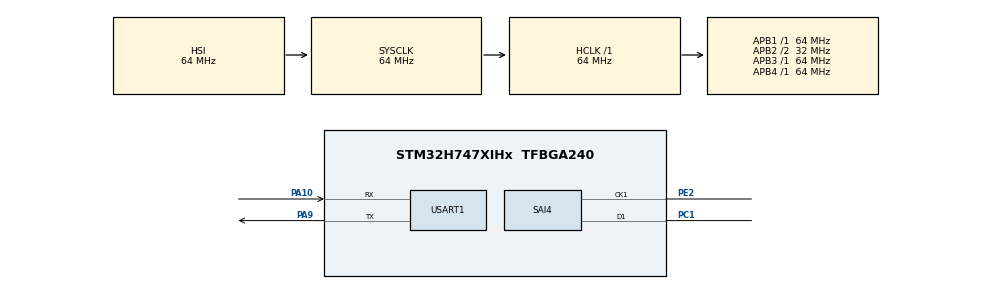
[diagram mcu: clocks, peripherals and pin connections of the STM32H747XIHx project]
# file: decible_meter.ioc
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Bdma.Request0=SAI4_A
Bdma.RequestsNb=1
Bdma.SAI4_A.0.Direction=DMA_PERIPH_TO_MEMORY
Bdma.SAI4_A.0.EventEnable=ENABLE
Bdma.SAI4_A.0.Instance=BDMA_Channel0
Bdma.SAI4_A.0.MemDataAlignment=DMA_MDATAALIGN_HALFWORD
Bdma.SAI4_A.0.MemInc=DMA_MINC_ENABLE
Bdma.SAI4_A.0.Mode=DMA_CIRCULAR
Bdma.SAI4_A.0.PeriphDataAlignment=DMA_PDATAALIGN_HALFWORD
Bdma.SAI4_A.0.PeriphInc=DMA_PINC_DISABLE
Bdma.SAI4_A.0.Polarity=HAL_DMAMUX_REQ_GEN_RISING
Bdma.SAI4_A.0.Priority=DMA_PRIORITY_HIGH
Bdma.SAI4_A.0.RequestNumber=1
Bdma.SAI4_A.0.SignalID=NONE
Bdma.SAI4_A.0.SyncEnable=DISABLE
Bdma.SAI4_A.0.SyncPolarity=HAL_DMAMUX_SYNC_NO_EVENT
Bdma.SAI4_A.0.SyncRequestNumber=1
Bdma.SAI4_A.0.SyncSignalID=NONE
CORTEX_M7.default_mode_Activation=1
CortexM4.IPs=BDMA,CORTEX_M4\:I,DMA,FATFS_M4\:I,FREERTOS_M4\:I,GPIO,IWDG2\:I,MDMA,NVIC2\:I,OPENAMP_M4\:I,PDM2PCM_M4\:I,PWR,RCC,RESMGR_UTILITY,SYS_M4\:I,USB_DEVICE_M4\:I,USB_HOST_M4\:I,VREFBUF,WWDG2\:I
CortexM7.IPs=BDMA\:I,CORTEX_M7\:I,DMA\:I,FATFS_M7\:I,FREERTOS_M7\:I,GPIO\:I,IWDG1\:I,MDMA\:I,NVIC1\:I,OPENAMP_M7\:I,PDM2PCM_M7\:I,PWR\:I,RCC\:I,RESMGR_UTILITY\:I,SYS\:I,USB_DEVICE_M7\:I,USB_HOST_M7\:I,VREFBUF\:I,WWDG1\:I,USART1\:I,SAI4\:I
Mcu.Family=STM32H7
Mcu.Name=STM32H747XIHx
Mcu.Package=TFBGA240
NVIC1.BDMA_Channel0_IRQn=true\:0\:0\:false\:false\:true\:false\:true\:true
NVIC1.PriorityGroup=NVIC_PRIORITYGROUP_4
NVIC1.SAI4_IRQn=true\:0\:0\:false\:false\:true\:true\:true\:true
NVIC2.PriorityGroup=NVIC_PRIORITYGROUP_4
PA10.Mode=Asynchronous
PA10.PinAttribute=CortexM7
PA10.Signal=USART1_RX
PA9.Mode=Asynchronous
PA9.PinAttribute=CortexM7
PA9.Signal=USART1_TX
PC1.Mode=PDM_Master_Mode_CK1
PC1.PinAttribute=CortexM7
PC1.Signal=SAI4_D1
PE2.Mode=PDM_Master_Mode_CK1
PE2.PinAttribute=CortexM7
PE2.Signal=SAI4_CK1
ProjectManager.HeapSize=M4-0x200,M7-0x200
ProjectManager.StackSize=M4-0x400,M7-0x400
ProjectManager.TargetToolchain=STM32CubeIDE
RCC.ADCFreq_Value=24576000
RCC.APB1Freq_Value=64000000
RCC.APB2Freq_Value=32000000
RCC.APB3Freq_Value=64000000
RCC.APB4Freq_Value=64000000
RCC.CortexFreq_Value=64000000
RCC.D2PPRE2=RCC_APB2_DIV2
RCC.DIVM1=4
RCC.DIVM2=5
RCC.DIVM3=4
RCC.DIVN1=10
RCC.DIVN2=48
RCC.DIVN3=9
RCC.DIVP2=25
RCC.DIVP3=10
RCC.DIVQ3=3
RCC.HCLKFreq_Value=64000000
RCC.PLL2FRACN=0
RCC.PLL3FRACN=0
RCC.PLLFRACN=0
RCC.SAI4ACLockSelection=RCC_SAI4ACLKSOURCE_CLKP
RCC.SYSCLKFreq_VALUE=64000000
RCC.USART16CLockSelection=RCC_USART16CLKSOURCE_CSI
RCC.USBFreq_Value=80000000
SAI4.Activation=ENABLE
SAI4.AudioFrequency-PDM_Master_Mode_CK1=SAI_AUDIO_FREQUENCY_MCKDIV
SAI4.DataSize-PDM_Master_Mode_CK1=SAI_DATASIZE_16
SAI4.ErrorAudioFreq-PDM_Master_Mode_CK1=-50.0 %
SAI4.FIFOThreshold-PDM_Master_Mode_CK1=SAI_FIFOTHRESHOLD_HF
SAI4.FrameLength-PDM_Master_Mode_CK1=16
SAI4.Instance-PDM_Master_Mode_CK1=SAI$Index_Block_A
SAI4.MClockEnable-PDM_Master_Mode_CK1=SAI_MASTERCLOCK_DISABLE
SAI4.RealAudioFreq-PDM_Master_Mode_CK1=0 Hz
SAI4.SlotActive-PDM_Master_Mode_CK1=0x0000FFFF
SAI4.VirtualMode-PDM_Master_Mode_CK1=VM_MASTER
SAI4.VirtualProtocol-PDM_Master_Mode_CK1=VM_PDM_PROTOCOL
SAI4.VirtualSlotActive-PDM_Master_Mode_CK1=SAI_SLOTACTIVE_ALL
SYS.userName=SYS_M7
USART1.VirtualMode-Asynchronous=VM_ASYNC
VP_SYS_M4_VS_Systick.Mode=SysTick
board=custom

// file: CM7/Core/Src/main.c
/* USER CODE BEGIN Header */
/**
  ******************************************************************************
  * @file           : main.c
  * @brief          : Main program body
  ******************************************************************************
  * @attention
  *
  * Copyright (c) 2024 STMicroelectronics.
  * All rights reserved.
  *
  * This software is licensed under terms that can be found in the LICENSE file
  * in the root directory of this software component.
  * If no LICENSE file comes with this software, it is provided AS-IS.
  *
  ******************************************************************************
  */
/* USER CODE END Header */
#include "main.h"

/* USER CODE BEGIN Includes */
#include "math.h"
#include <stdio.h>
#include <string.h> // Added for memset
#define BUFFER_SIZE 4096  // Size of the audio buffer
#define REFERENCE_VOLTAGE 0.00002f
/* USER CODE END Includes */

/* USER CODE BEGIN PD */

#ifndef HSEM_ID_0
#define HSEM_ID_0 (0U) /* HW semaphore 0*/
#endif

/* USER CODE END PD */

SAI_HandleTypeDef hsai_BlockA4;
DMA_HandleTypeDef hdma_sai4_a;

UART_HandleTypeDef huart1;

/* USER CODE BEGIN PV */
int16_t audio_buffer[BUFFER_SIZE];
/* USER CODE END PV */

void SystemClock_Config(void);
void PeriphCommonClock_Config(void);
static void MPU_Config(void);
static void MX_GPIO_Init(void);
static void MX_BDMA_Init(void);
static void MX_USART1_UART_Init(void);
static void MX_SAI4_Init(void);
/* USER CODE BEGIN PFP */
float calculate_decibel(int16_t *buffer, size_t size);
/* USER CODE END PFP */

/* USER CODE BEGIN 0 */

int16_t audio_buffer[BUFFER_SIZE];

float calculate_decibel(int16_t *buffer, size_t size) {
    float sum = 0.0f;

    for (size_t i = 0; i < size; i++) {
        float voltage = (float)buffer[i] / 32768.0f; // Normalize 16-bit value
        sum += voltage * voltage;
    }

    float rms = sqrtf(sum / size);
    float spl = 20.0f * log10f(rms / REFERENCE_VOLTAGE);

    return spl;
}

int _write(int file, char *ptr, int len) {
    HAL_UART_Transmit(&huart1, (uint8_t *)ptr, len, HAL_MAX_DELAY);
    return len;
}

#define BYTES_PER_LINE 32
/* USER CODE END 0 */

int main(void)
{

  /* USER CODE BEGIN 1 */
    memset(audio_buffer, 0xAA, sizeof(audio_buffer)); // Initialize buffer
  /* USER CODE END 1 */
/* USER CODE BEGIN Boot_Mode_Sequence_0 */
  int32_t timeout;
/* USER CODE END Boot_Mode_Sequence_0 */

  /* MPU Configuration--------------------------------------------------------*/
  MPU_Config();

/* USER CODE BEGIN Boot_Mode_Sequence_1 */
  /* Wait until CPU2 boots and enters in stop mode or timeout*/
  timeout = 0xFFFF;
  while((__HAL_RCC_GET_FLAG(RCC_FLAG_D2CKRDY) != RESET) && (timeout-- > 0));
  if ( timeout < 0 )
  {
  Error_Handler();
  }
/* USER CODE END Boot_Mode_Sequence_1 */
  /* MCU Configuration--------------------------------------------------------*/

  /* Reset of all peripherals, Initializes the Flash interface and the Systick. */
  HAL_Init();

  /* Configure the system clock */
  SystemClock_Config();

  /* Configure the peripherals common clocks */
  PeriphCommonClock_Config();
/* USER CODE BEGIN Boot_Mode_Sequence_2 */
/* When system initialization is finished, Cortex-M7 will release Cortex-M4 by means of
HSEM notification */
/*HW semaphore Clock enable*/
__HAL_RCC_HSEM_CLK_ENABLE();
/*Take HSEM */
HAL_HSEM_FastTake(HSEM_ID_0);
/*Release HSEM in order to notify the CPU2(CM4)*/
HAL_HSEM_Release(HSEM_ID_0,0);
/* wait until CPU2 wakes up from stop mode */
timeout = 0xFFFF;
while((__HAL_RCC_GET_FLAG(RCC_FLAG_D2CKRDY) == RESET) && (timeout-- > 0));
if ( timeout < 0 )
{
Error_Handler();
}
/* USER CODE END Boot_Mode_Sequence_2 */

  /* Initialize all configured peripherals */
  MX_GPIO_Init();
  MX_BDMA_Init();
  MX_USART1_UART_Init();
  MX_SAI4_Init();
  /* USER CODE BEGIN 2 */
//  printf("Starting SAI DMA...\r\n");
//  if (HAL_SAI_Receive_DMA(&hsai_BlockA4, (uint8_t *)audio_buffer, BUFFER_SIZE) != HAL_OK) {
//      printf("SAI DMA initialization failed! Error: %ld\r\n", hsai_BlockA4.ErrorCode);
//  } else {
//      printf("SAI DMA started successfully.\r\n");
//  }
  /* USER CODE END 2 */

  /* Infinite loop */
  /* USER CODE BEGIN WHILE */
  while (1)
  {
	  if (HAL_SAI_Receive(&hsai_BlockA4, (void*) audio_buffer, BUFFER_SIZE, 2000))
	  {
		  printf("SAI Read Fail\r\n");
		  continue;
	  }
	  printf("----------------------------");
	  printf("SAI State: %d", HAL_SAI_GetState(&hsai_BlockA4));
	  printf("Audio Buffer Data:\r\n");
	  for (int i = 0; i < 10; i++) {
		  printf("[%d]: %d\r\n", i, audio_buffer[i]);
	  }
	      float decibel_level = calculate_decibel(audio_buffer, BUFFER_SIZE);
	      printf("SPL: %.2f dB\r\n", decibel_level);
	      HAL_Delay(1000);
    /* USER CODE END WHILE */

  }
}

void SystemClock_Config(void)
{
  RCC_OscInitTypeDef RCC_OscInitStruct = {0};
  RCC_ClkInitTypeDef RCC_ClkInitStruct = {0};

  /** Supply configuration update enable
  */
  HAL_PWREx_ConfigSupply(PWR_DIRECT_SMPS_SUPPLY);

  /** Configure the main internal regulator output voltage
  */
  __HAL_PWR_VOLTAGESCALING_CONFIG(PWR_REGULATOR_VOLTAGE_SCALE3);

  while(!__HAL_PWR_GET_FLAG(PWR_FLAG_VOSRDY)) {}

  /** Initializes the RCC Oscillators according to the specified parameters
  * in the RCC_OscInitTypeDef structure.
  */
  RCC_OscInitStruct.OscillatorType = RCC_OSCILLATORTYPE_CSI|RCC_OSCILLATORTYPE_HSI;
  RCC_OscInitStruct.HSIState = RCC_HSI_DIV1;
  RCC_OscInitStruct.HSICalibrationValue = RCC_HSICALIBRATION_DEFAULT;
  RCC_OscInitStruct.CSIState = RCC_CSI_ON;
  RCC_OscInitStruct.CSICalibrationValue = RCC_CSICALIBRATION_DEFAULT;
  RCC_OscInitStruct.PLL.PLLState = RCC_PLL_NONE;
  if (HAL_RCC_OscConfig(&RCC_OscInitStruct) != HAL_OK)
  {
    Error_Handler();
  }

  /** Initializes the CPU, AHB and APB buses clocks
  */
  RCC_ClkInitStruct.ClockType = RCC_CLOCKTYPE_HCLK|RCC_CLOCKTYPE_SYSCLK
                              |RCC_CLOCKTYPE_PCLK1|RCC_CLOCKTYPE_PCLK2
                              |RCC_CLOCKTYPE_D3PCLK1|RCC_CLOCKTYPE_D1PCLK1;
  RCC_ClkInitStruct.SYSCLKSource = RCC_SYSCLKSOURCE_HSI;
  RCC_ClkInitStruct.SYSCLKDivider = RCC_SYSCLK_DIV1;
  RCC_ClkInitStruct.AHBCLKDivider = RCC_HCLK_DIV1;
  RCC_ClkInitStruct.APB3CLKDivider = RCC_APB3_DIV1;
  RCC_ClkInitStruct.APB1CLKDivider = RCC_APB1_DIV1;
  RCC_ClkInitStruct.APB2CLKDivider = RCC_APB2_DIV2;
  RCC_ClkInitStruct.APB4CLKDivider = RCC_APB4_DIV1;

  if (HAL_RCC_ClockConfig(&RCC_ClkInitStruct, FLASH_LATENCY_1) != HAL_OK)
  {
    Error_Handler();
  }
}

void PeriphCommonClock_Config(void)
{
  RCC_PeriphCLKInitTypeDef PeriphClkInitStruct = {0};

  /** Initializes the peripherals clock
  */
  PeriphClkInitStruct.PeriphClockSelection = RCC_PERIPHCLK_CKPER;
  PeriphClkInitStruct.CkperClockSelection = RCC_CLKPSOURCE_HSI;
  if (HAL_RCCEx_PeriphCLKConfig(&PeriphClkInitStruct) != HAL_OK)
  {
    Error_Handler();
  }
}

static void MX_SAI4_Init(void)
{

  hsai_BlockA4.Instance = SAI4_Block_A;
  hsai_BlockA4.Init.Protocol = SAI_FREE_PROTOCOL;
  hsai_BlockA4.Init.AudioMode = SAI_MODEMASTER_RX;
  hsai_BlockA4.Init.DataSize = SAI_DATASIZE_16;
  hsai_BlockA4.Init.FirstBit = SAI_FIRSTBIT_MSB;
  hsai_BlockA4.Init.ClockStrobing = SAI_CLOCKSTROBING_FALLINGEDGE;
  hsai_BlockA4.Init.Synchro = SAI_ASYNCHRONOUS;
  hsai_BlockA4.Init.OutputDrive = SAI_OUTPUTDRIVE_DISABLE;
  hsai_BlockA4.Init.NoDivider = SAI_MCK_OVERSAMPLING_DISABLE;
  hsai_BlockA4.Init.MckOverSampling = SAI_MCK_OVERSAMPLING_DISABLE;
  hsai_BlockA4.Init.FIFOThreshold = SAI_FIFOTHRESHOLD_HF;
  hsai_BlockA4.Init.AudioFrequency = SAI_AUDIO_FREQUENCY_MCKDIV;
  hsai_BlockA4.Init.Mckdiv = 0;
  hsai_BlockA4.Init.MonoStereoMode = SAI_STEREOMODE;
  hsai_BlockA4.Init.CompandingMode = SAI_NOCOMPANDING;
  hsai_BlockA4.Init.PdmInit.Activation = ENABLE;
  hsai_BlockA4.Init.PdmInit.MicPairsNbr = 1;
  hsai_BlockA4.Init.PdmInit.ClockEnable = SAI_PDM_CLOCK1_ENABLE;
  hsai_BlockA4.FrameInit.FrameLength = 16;
  hsai_BlockA4.FrameInit.ActiveFrameLength = 1;
  hsai_BlockA4.FrameInit.FSDefinition = SAI_FS_STARTFRAME;
  hsai_BlockA4.FrameInit.FSPolarity = SAI_FS_ACTIVE_LOW;
  hsai_BlockA4.FrameInit.FSOffset = SAI_FS_FIRSTBIT;
  hsai_BlockA4.SlotInit.FirstBitOffset = 0;
  hsai_BlockA4.SlotInit.SlotSize = SAI_SLOTSIZE_DATASIZE;
  hsai_BlockA4.SlotInit.SlotNumber = 1;
  hsai_BlockA4.SlotInit.SlotActive = 0x0000FFFF;
  if (HAL_SAI_Init(&hsai_BlockA4) != HAL_OK)
  {
    Error_Handler();
  }

}

static void MX_USART1_UART_Init(void)
{

  huart1.Instance = USART1;
  huart1.Init.BaudRate = 115200;
  huart1.Init.WordLength = UART_WORDLENGTH_8B;
  huart1.Init.StopBits = UART_STOPBITS_1;
  huart1.Init.Parity = UART_PARITY_NONE;
  huart1.Init.Mode = UART_MODE_TX_RX;
  huart1.Init.HwFlowCtl = UART_HWCONTROL_NONE;
  huart1.Init.OverSampling = UART_OVERSAMPLING_16;
  huart1.Init.OneBitSampling = UART_ONE_BIT_SAMPLE_DISABLE;
  huart1.Init.ClockPrescaler = UART_PRESCALER_DIV1;
  huart1.AdvancedInit.AdvFeatureInit = UART_ADVFEATURE_NO_INIT;
  if (HAL_UART_Init(&huart1) != HAL_OK)
  {
    Error_Handler();
  }
  if (HAL_UARTEx_SetTxFifoThreshold(&huart1, UART_TXFIFO_THRESHOLD_1_8) != HAL_OK)
  {
    Error_Handler();
  }
  if (HAL_UARTEx_SetRxFifoThreshold(&huart1, UART_RXFIFO_THRESHOLD_1_8) != HAL_OK)
  {
    Error_Handler();
  }
  if (HAL_UARTEx_DisableFifoMode(&huart1) != HAL_OK)
  {
    Error_Handler();
  }

}

static void MX_BDMA_Init(void)
{

  /* DMA controller clock enable */
  __HAL_RCC_BDMA_CLK_ENABLE();

  /* DMA interrupt init */
  /* BDMA_Channel0_IRQn interrupt configuration */
  HAL_NVIC_SetPriority(BDMA_Channel0_IRQn, 0, 0);
  HAL_NVIC_EnableIRQ(BDMA_Channel0_IRQn);

}

static void MX_GPIO_Init(void)
{

  /* GPIO Ports Clock Enable */
  __HAL_RCC_GPIOE_CLK_ENABLE();
  __HAL_RCC_GPIOA_CLK_ENABLE();
  __HAL_RCC_GPIOC_CLK_ENABLE();

}

 /* MPU Configuration */

void MPU_Config(void)
{
  MPU_Region_InitTypeDef MPU_InitStruct = {0};

  /* Disables the MPU */
  HAL_MPU_Disable();

  /** Initializes and configures the Region and the memory to be protected
  */
  MPU_InitStruct.Enable = MPU_REGION_ENABLE;
  MPU_InitStruct.Number = MPU_REGION_NUMBER0;
  MPU_InitStruct.BaseAddress = 0x0;
  MPU_InitStruct.Size = MPU_REGION_SIZE_4GB;
  MPU_InitStruct.SubRegionDisable = 0x87;
  MPU_InitStruct.TypeExtField = MPU_TEX_LEVEL0;
  MPU_InitStruct.AccessPermission = MPU_REGION_NO_ACCESS;
  MPU_InitStruct.DisableExec = MPU_INSTRUCTION_ACCESS_DISABLE;
  MPU_InitStruct.IsShareable = MPU_ACCESS_SHAREABLE;
  MPU_InitStruct.IsCacheable = MPU_ACCESS_NOT_CACHEABLE;
  MPU_InitStruct.IsBufferable = MPU_ACCESS_NOT_BUFFERABLE;

  HAL_MPU_ConfigRegion(&MPU_InitStruct);
  /* Enables the MPU */
  HAL_MPU_Enable(MPU_PRIVILEGED_DEFAULT);

}

void Error_Handler(void)
{
  __disable_irq();
  while (1)
  {
  }
}
